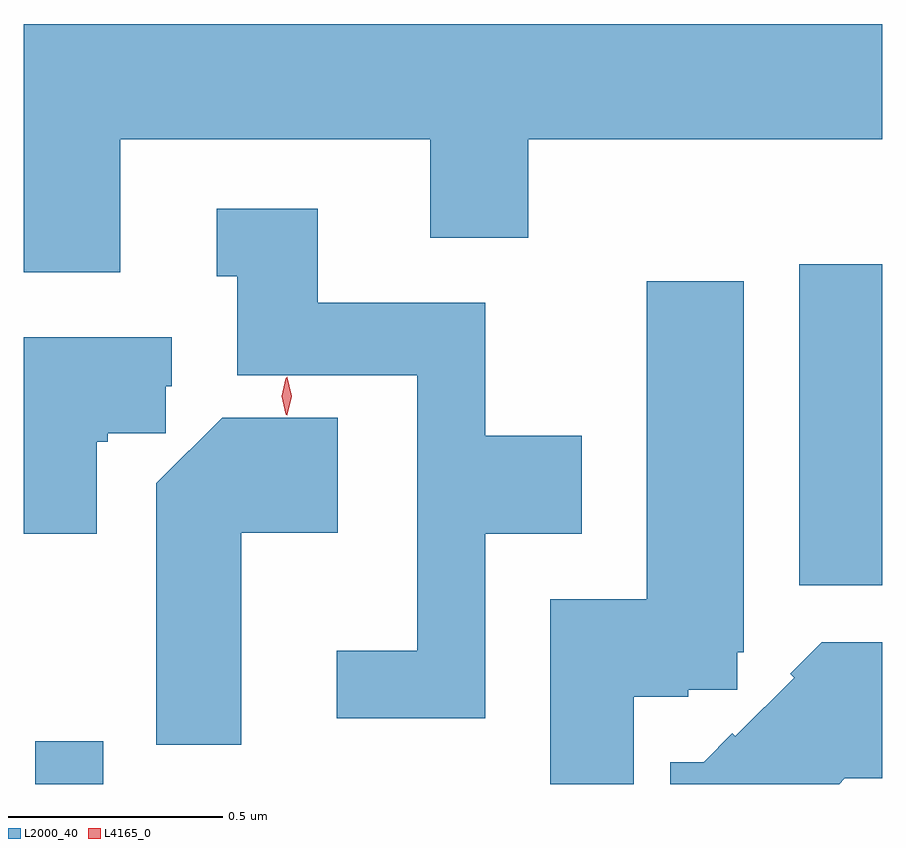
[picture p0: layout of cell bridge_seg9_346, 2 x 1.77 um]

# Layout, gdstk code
import gdstk
lib = gdstk.Library(unit=1e-6, precision=1e-09)
def R(c, l, rs):  # rectangles x0, y0, x1, y1
    for r in rs: c.add(gdstk.rectangle(r[:2], r[2:], *l))
def P(c, l, *ps):  # polygons
    for p in ps: c.add(gdstk.Polygon(p, *l))
L2000_40 = (2000, 40)
L4165_0 = (4165, 0)

bridge_seg9_346 = lib.new_cell('bridge_seg9_346')
R(bridge_seg9_346, L2000_40, [(680.441,2074.673,680.599,2074.773), (682.221,2075.136,682.414,2075.884)])
P(bridge_seg9_346, L2000_40, [(680.639,2076.176),(681.361,2076.176),(681.361,2075.946),(681.589,2075.946),(681.589,2076.176),(682.414,2076.176),(682.414,2076.444),(680.414,2076.444),(680.414,2075.866),(680.639,2075.866)],
  [(681.489,2075.256),(681.714,2075.256),(681.714,2075.484),(681.489,2075.484),(681.489,2075.794),(681.099,2075.794),(681.099,2076.014),(680.863,2076.014),(680.863,2075.856),(680.911,2075.856),(680.911,2075.626),(681.331,2075.626),(681.331,2074.984),(681.143,2074.984),(681.143,2074.826),(681.489,2074.826)],
  [(681.835,2074.876),(681.962,2074.876),(681.962,2074.893),(682.076,2074.893),(682.076,2074.98),(682.091,2074.98),(682.091,2075.14),(682.092,2075.14),(682.092,2075.844),(681.866,2075.844),(681.866,2075.104),(681.641,2075.104),(681.641,2074.673),(681.835,2074.673)],
  [(680.584,2075.471),(680.61,2075.471),(680.61,2075.49),(680.745,2075.49),(680.745,2075.6),(680.759,2075.6),(680.759,2075.714),(680.414,2075.714),(680.414,2075.256),(680.584,2075.256)],
  [(680.92,2075.259),(681.145,2075.259),(681.145,2075.527),(680.876,2075.527),(680.722,2075.374),(680.722,2074.764),(680.92,2074.764)],
  [(682.327,2074.686),(682.414,2074.686),(682.414,2075.003),(682.273,2075.003),(682.2,2074.93),(682.209,2074.921),(682.072,2074.784),(682.065,2074.791),(681.998,2074.724),(681.92,2074.724),(681.92,2074.673),(682.314,2074.673)])
P(bridge_seg9_346, L4165_0, [(681.025,2075.534),(681.024,2075.535),(681.015,2075.577),(681.024,2075.619),(681.025,2075.619),(681.025,2075.619),(681.035,2075.577),(681.025,2075.535)],
  [(681.028,2075.532),(681.027,2075.533),(681.018,2075.577),(681.027,2075.621),(681.028,2075.622),(681.028,2075.621),(681.038,2075.577),(681.028,2075.533)])

lib.write_gds('bridge_seg9_346.gds')
